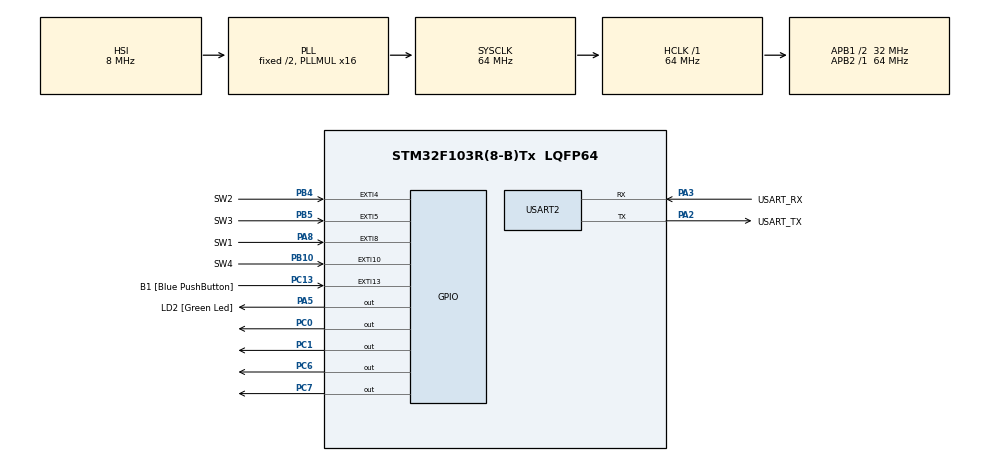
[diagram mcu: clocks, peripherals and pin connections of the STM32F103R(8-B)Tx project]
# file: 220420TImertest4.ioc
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Mcu.Family=STM32F1
Mcu.Name=STM32F103R(8-B)Tx
Mcu.Package=LQFP64
NVIC.EXTI15_10_IRQn=true\:0\:0\:false\:false\:true\:true\:true\:true
NVIC.EXTI4_IRQn=true\:0\:0\:false\:false\:true\:true\:true\:true
NVIC.EXTI9_5_IRQn=true\:0\:0\:false\:false\:true\:true\:true\:true
NVIC.PriorityGroup=NVIC_PRIORITYGROUP_4
NVIC.TIM2_IRQn=true\:0\:0\:false\:false\:true\:true\:true\:true
PA13.GPIO_Label=TMS
PA13.Mode=Serial_Wire
PA13.Signal=SYS_JTMS-SWDIO
PA14.GPIO_Label=TCK
PA14.Mode=Serial_Wire
PA14.Signal=SYS_JTCK-SWCLK
PA2.GPIO_Label=USART_TX
PA2.GPIO_Mode=GPIO_MODE_AF_PP
PA2.GPIO_PuPd=GPIO_NOPULL
PA2.GPIO_Speed=GPIO_SPEED_FREQ_LOW
PA2.Mode=Asynchronous
PA2.Signal=USART2_TX
PA3.GPIO_Label=USART_RX
PA3.GPIO_Mode=GPIO_MODE_AF_PP
PA3.GPIO_PuPd=GPIO_NOPULL
PA3.GPIO_Speed=GPIO_SPEED_FREQ_LOW
PA3.Mode=Asynchronous
PA3.Signal=USART2_RX
PA5.GPIO_Label=LD2 [Green Led]
PA5.GPIO_ModeDefaultOutputPP=GPIO_MODE_OUTPUT_PP
PA5.GPIO_PuPd=GPIO_NOPULL
PA5.GPIO_Speed=GPIO_SPEED_FREQ_LOW
PA5.Signal=GPIO_Output
PA8.GPIO_Label=SW1
PA8.GPIO_ModeDefaultEXTI=GPIO_MODE_IT_FALLING
PA8.GPIO_PuPd=GPIO_NOPULL
PA8.Signal=GPXTI8
PB10.GPIO_Label=SW4
PB10.GPIO_ModeDefaultEXTI=GPIO_MODE_IT_FALLING
PB10.GPIO_PuPd=GPIO_NOPULL
PB10.Signal=GPXTI10
PB3.GPIO_Label=SWO
PB3.Signal=SYS_JTDO-TRACESWO
PB4.GPIO_Label=SW2
PB4.GPIO_ModeDefaultEXTI=GPIO_MODE_IT_FALLING
PB4.GPIO_PuPd=GPIO_NOPULL
PB4.Signal=GPXTI4
PB5.GPIO_Label=SW3
PB5.GPIO_ModeDefaultEXTI=GPIO_MODE_IT_FALLING
PB5.GPIO_PuPd=GPIO_NOPULL
PB5.Signal=GPXTI5
PC0.Signal=GPIO_Output
PC1.Signal=GPIO_Output
PC13-TAMPER-RTC.GPIO_Label=B1 [Blue PushButton]
PC13-TAMPER-RTC.GPIO_PuPd=GPIO_NOPULL
PC13-TAMPER-RTC.Signal=GPXTI13
PC14-OSC32_IN.Mode=LSE-External-Oscillator
PC14-OSC32_IN.Signal=RCC_OSC32_IN
PC15-OSC32_OUT.Mode=LSE-External-Oscillator
PC15-OSC32_OUT.Signal=RCC_OSC32_OUT
PC6.Signal=GPIO_Output
PC7.Signal=GPIO_Output
PD0-OSC_IN.Mode=HSE-External-Clock-Source
PD0-OSC_IN.Signal=RCC_OSC_IN
PD1-OSC_OUT.Mode=HSE-External-Clock-Source
PD1-OSC_OUT.Signal=RCC_OSC_OUT
ProjectManager.HeapSize=0x200
ProjectManager.StackSize=0x400
ProjectManager.TargetToolchain=STM32CubeIDE
RCC.AHBFreq_Value=64000000
RCC.APB1CLKDivider=RCC_HCLK_DIV2
RCC.APB1Freq_Value=32000000
RCC.APB1TimFreq_Value=64000000
RCC.APB2Freq_Value=64000000
RCC.APB2TimFreq_Value=64000000
RCC.HCLKFreq_Value=64000000
RCC.PLLMUL=RCC_PLL_MUL16
RCC.RTCClockSelection=RCC_RTCCLKSOURCE_LSE
RCC.SYSCLKFreq_VALUE=64000000
RCC.SYSCLKSource=RCC_SYSCLKSOURCE_PLLCLK
RCC.USBFreq_Value=64000000
TIM2.Channel-Output\ Compare1\ No\ Output=TIM_CHANNEL_1
TIM2.Channel-Output\ Compare2\ No\ Output=TIM_CHANNEL_2
TIM2.Period=10000-1
TIM2.Prescaler=6400-1
TIM2.Pulse-Output\ Compare1\ No\ Output=5000-1
TIM2.Pulse-Output\ Compare2\ No\ Output=5000-1
USART2.VirtualMode=VM_ASYNC
VP_TIM2_VS_ClockSourceINT.Mode=Internal
VP_TIM2_VS_no_output1.Mode=Output Compare1 No Output
VP_TIM2_VS_no_output2.Mode=Output Compare2 No Output
board=NUCLEO-F103RB

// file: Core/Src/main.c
/* USER CODE BEGIN Header */
/**
  ******************************************************************************
  * @file           : main.c
  * @brief          : Main program body
  ******************************************************************************
  * @attention
  *
  * Copyright (c) 2022 STMicroelectronics.
  * All rights reserved.
  *
  * This software is licensed under terms that can be found in the LICENSE file
  * in the root directory of this software component.
  * If no LICENSE file comes with this software, it is provided AS-IS.
  *
  ******************************************************************************
  */
/* USER CODE END Header */
#include "main.h"

 TIM_HandleTypeDef htim2;

UART_HandleTypeDef huart2;
TIM_ClockConfigTypeDef sClockSourceConfig = {0};
TIM_MasterConfigTypeDef sMasterConfig = {0};
TIM_OC_InitTypeDef sConfigOC = {0};

void SystemClock_Config(void);
static void MX_GPIO_Init(void);
static void MX_USART2_UART_Init(void);
static void MX_TIM2_Init(void);

int main(void)
{

  /* MCU Configuration--------------------------------------------------------*/

  /* Reset of all peripherals, Initializes the Flash interface and the Systick. */
  HAL_Init();

  /* Configure the system clock */
  SystemClock_Config();

  /* Initialize all configured peripherals */
  MX_GPIO_Init();
  MX_USART2_UART_Init();
  MX_TIM2_Init();
  /* USER CODE BEGIN 2 */
  if(HAL_TIM_Base_Start_IT(&htim2) != HAL_OK){
	  Error_Handler();
  }

  if(HAL_TIM_OC_Start_IT(&htim2, TIM_CHANNEL_1) != HAL_OK){
	  Error_Handler();
  }

  if(HAL_TIM_OC_Start_IT(&htim2, TIM_CHANNEL_2) != HAL_OK){
	  Error_Handler();
  }
  /* USER CODE END 2 */

  /* Infinite loop */
  while (1)
  {

  }
}

void SystemClock_Config(void)
{
  RCC_OscInitTypeDef RCC_OscInitStruct = {0};
  RCC_ClkInitTypeDef RCC_ClkInitStruct = {0};

  /** Initializes the RCC Oscillators according to the specified parameters
  * in the RCC_OscInitTypeDef structure.
  */
  RCC_OscInitStruct.OscillatorType = RCC_OSCILLATORTYPE_HSI;
  RCC_OscInitStruct.HSIState = RCC_HSI_ON;
  RCC_OscInitStruct.HSICalibrationValue = RCC_HSICALIBRATION_DEFAULT;
  RCC_OscInitStruct.PLL.PLLState = RCC_PLL_ON;
  RCC_OscInitStruct.PLL.PLLSource = RCC_PLLSOURCE_HSI_DIV2;
  RCC_OscInitStruct.PLL.PLLMUL = RCC_PLL_MUL16;
  if (HAL_RCC_OscConfig(&RCC_OscInitStruct) != HAL_OK)
  {
    Error_Handler();
  }

  /** Initializes the CPU, AHB and APB buses clocks
  */
  RCC_ClkInitStruct.ClockType = RCC_CLOCKTYPE_HCLK|RCC_CLOCKTYPE_SYSCLK
                              |RCC_CLOCKTYPE_PCLK1|RCC_CLOCKTYPE_PCLK2;
  RCC_ClkInitStruct.SYSCLKSource = RCC_SYSCLKSOURCE_PLLCLK;
  RCC_ClkInitStruct.AHBCLKDivider = RCC_SYSCLK_DIV1;
  RCC_ClkInitStruct.APB1CLKDivider = RCC_HCLK_DIV2;
  RCC_ClkInitStruct.APB2CLKDivider = RCC_HCLK_DIV1;

  if (HAL_RCC_ClockConfig(&RCC_ClkInitStruct, FLASH_LATENCY_2) != HAL_OK)
  {
    Error_Handler();
  }
}

static void MX_TIM2_Init(void)
{

  htim2.Instance = TIM2;
  htim2.Init.Prescaler = 6400-1;
  htim2.Init.CounterMode = TIM_COUNTERMODE_UP;
  htim2.Init.Period = 10000-1;
  htim2.Init.ClockDivision = TIM_CLOCKDIVISION_DIV1;
  htim2.Init.AutoReloadPreload = TIM_AUTORELOAD_PRELOAD_DISABLE;
  if (HAL_TIM_Base_Init(&htim2) != HAL_OK)
  {
    Error_Handler();
  }
  sClockSourceConfig.ClockSource = TIM_CLOCKSOURCE_INTERNAL;
  if (HAL_TIM_ConfigClockSource(&htim2, &sClockSourceConfig) != HAL_OK)
  {
    Error_Handler();
  }
  if (HAL_TIM_OC_Init(&htim2) != HAL_OK)
  {
    Error_Handler();
  }
  sMasterConfig.MasterOutputTrigger = TIM_TRGO_RESET;
  sMasterConfig.MasterSlaveMode = TIM_MASTERSLAVEMODE_DISABLE;
  if (HAL_TIMEx_MasterConfigSynchronization(&htim2, &sMasterConfig) != HAL_OK)
  {
    Error_Handler();
  }
  sConfigOC.OCMode = TIM_OCMODE_TIMING;
  sConfigOC.Pulse = 5000-1;
  sConfigOC.OCPolarity = TIM_OCPOLARITY_HIGH;
  sConfigOC.OCFastMode = TIM_OCFAST_DISABLE;
  if (HAL_TIM_OC_ConfigChannel(&htim2, &sConfigOC, TIM_CHANNEL_1) != HAL_OK)
  {
    Error_Handler();
  }
  if (HAL_TIM_OC_ConfigChannel(&htim2, &sConfigOC, TIM_CHANNEL_2) != HAL_OK)
  {
    Error_Handler();
  }

}

static void MX_USART2_UART_Init(void)
{

  huart2.Instance = USART2;
  huart2.Init.BaudRate = 115200;
  huart2.Init.WordLength = UART_WORDLENGTH_8B;
  huart2.Init.StopBits = UART_STOPBITS_1;
  huart2.Init.Parity = UART_PARITY_NONE;
  huart2.Init.Mode = UART_MODE_TX_RX;
  huart2.Init.HwFlowCtl = UART_HWCONTROL_NONE;
  huart2.Init.OverSampling = UART_OVERSAMPLING_16;
  if (HAL_UART_Init(&huart2) != HAL_OK)
  {
    Error_Handler();
  }

}

static void MX_GPIO_Init(void)
{
  GPIO_InitTypeDef GPIO_InitStruct = {0};

  /* GPIO Ports Clock Enable */
  __HAL_RCC_GPIOC_CLK_ENABLE();
  __HAL_RCC_GPIOD_CLK_ENABLE();
  __HAL_RCC_GPIOA_CLK_ENABLE();
  __HAL_RCC_GPIOB_CLK_ENABLE();

  /*Configure GPIO pin Output Level */
  HAL_GPIO_WritePin(GPIOC, GPIO_PIN_0|GPIO_PIN_1|GPIO_PIN_6|GPIO_PIN_7, GPIO_PIN_RESET);

  /*Configure GPIO pin Output Level */
  HAL_GPIO_WritePin(LD2_GPIO_Port, LD2_Pin, GPIO_PIN_RESET);

  /*Configure GPIO pin : B1_Pin */
  GPIO_InitStruct.Pin = B1_Pin;
  GPIO_InitStruct.Mode = GPIO_MODE_IT_RISING;
  GPIO_InitStruct.Pull = GPIO_NOPULL;
  HAL_GPIO_Init(B1_GPIO_Port, &GPIO_InitStruct);

  /*Configure GPIO pins : PC0 PC1 PC6 PC7 */
  GPIO_InitStruct.Pin = GPIO_PIN_0|GPIO_PIN_1|GPIO_PIN_6|GPIO_PIN_7;
  GPIO_InitStruct.Mode = GPIO_MODE_OUTPUT_PP;
  GPIO_InitStruct.Pull = GPIO_NOPULL;
  GPIO_InitStruct.Speed = GPIO_SPEED_FREQ_LOW;
  HAL_GPIO_Init(GPIOC, &GPIO_InitStruct);

  /*Configure GPIO pin : LD2_Pin */
  GPIO_InitStruct.Pin = LD2_Pin;
  GPIO_InitStruct.Mode = GPIO_MODE_OUTPUT_PP;
  GPIO_InitStruct.Pull = GPIO_NOPULL;
  GPIO_InitStruct.Speed = GPIO_SPEED_FREQ_LOW;
  HAL_GPIO_Init(LD2_GPIO_Port, &GPIO_InitStruct);

  /*Configure GPIO pins : SW4_Pin SW2_Pin SW3_Pin */
  GPIO_InitStruct.Pin = SW4_Pin|SW2_Pin|SW3_Pin;
  GPIO_InitStruct.Mode = GPIO_MODE_IT_FALLING;
  GPIO_InitStruct.Pull = GPIO_NOPULL;
  HAL_GPIO_Init(GPIOB, &GPIO_InitStruct);

  /*Configure GPIO pin : SW1_Pin */
  GPIO_InitStruct.Pin = SW1_Pin;
  GPIO_InitStruct.Mode = GPIO_MODE_IT_FALLING;
  GPIO_InitStruct.Pull = GPIO_NOPULL;
  HAL_GPIO_Init(SW1_GPIO_Port, &GPIO_InitStruct);

  /* EXTI interrupt init*/
  HAL_NVIC_SetPriority(EXTI4_IRQn, 0, 0);
  HAL_NVIC_EnableIRQ(EXTI4_IRQn);

  HAL_NVIC_SetPriority(EXTI9_5_IRQn, 0, 0);
  HAL_NVIC_EnableIRQ(EXTI9_5_IRQn);

  HAL_NVIC_SetPriority(EXTI15_10_IRQn, 0, 0);
  HAL_NVIC_EnableIRQ(EXTI15_10_IRQn);

}

/* USER CODE BEGIN 4 */
	void HAL_TIM_PeriodElapsedCallback(TIM_HandleTypeDef *htim) //Cnt와 ARR이 같을 때 Cnt를 0으로 초기화하면서 발생시키는 인터럽트
	{
		HAL_GPIO_WritePin(GPIOC, GPIO_PIN_0|GPIO_PIN_1|GPIO_PIN_6|GPIO_PIN_7, GPIO_PIN_SET);
	}

	void HAL_TIM_OC_DelayElapsedCallback(TIM_HandleTypeDef *htim)//cnt와 ccr이 같을 때 LED를 끈다.
	{
		if(htim->Channel == HAL_TIM_ACTIVE_CHANNEL_1)
		{
			HAL_GPIO_WritePin(GPIOC, GPIO_PIN_0 | GPIO_PIN_1, GPIO_PIN_RESET);
		}

		if(htim->Channel == HAL_TIM_ACTIVE_CHANNEL_2)
		{
			HAL_GPIO_WritePin(GPIOC, GPIO_PIN_6 | GPIO_PIN_7, GPIO_PIN_RESET);
		}
	}

	void HAL_GPIO_EXTI_Callback(uint16_t GPIO_PIN)
	{

		if(GPIO_PIN == SW1_Pin)
		{
			sConfigOC.Pulse = 10000-1;
			HAL_TIM_OC_ConfigChannel(&htim2, &sConfigOC, TIM_CHANNEL_1);
			HAL_TIM_OC_ConfigChannel(&htim2, &sConfigOC, TIM_CHANNEL_2);
		}

		else if(GPIO_PIN == SW2_Pin)
		{
			sConfigOC.Pulse = 2500;
			HAL_TIM_OC_ConfigChannel(&htim2, &sConfigOC, TIM_CHANNEL_1);
		}

		else if(GPIO_PIN == SW3_Pin)
		{
			sConfigOC.Pulse = 5000;
			HAL_TIM_OC_ConfigChannel(&htim2, &sConfigOC, TIM_CHANNEL_2);
		}

		else if(GPIO_PIN == SW4_Pin)
		{
			sConfigOC.Pulse = 1200;
			HAL_TIM_OC_ConfigChannel(&htim2, &sConfigOC, TIM_CHANNEL_2);
		}

		else if(GPIO_PIN == B1_Pin)
		{
			sConfigOC.Pulse = 1000-1;
			HAL_TIM_OC_ConfigChannel(&htim2, &sConfigOC, TIM_CHANNEL_1);
			HAL_TIM_OC_ConfigChannel(&htim2, &sConfigOC, TIM_CHANNEL_2);
		}
	}
/* USER CODE END 4 */

void Error_Handler(void)
{
  __disable_irq();
  while (1)
  {
  }
}
